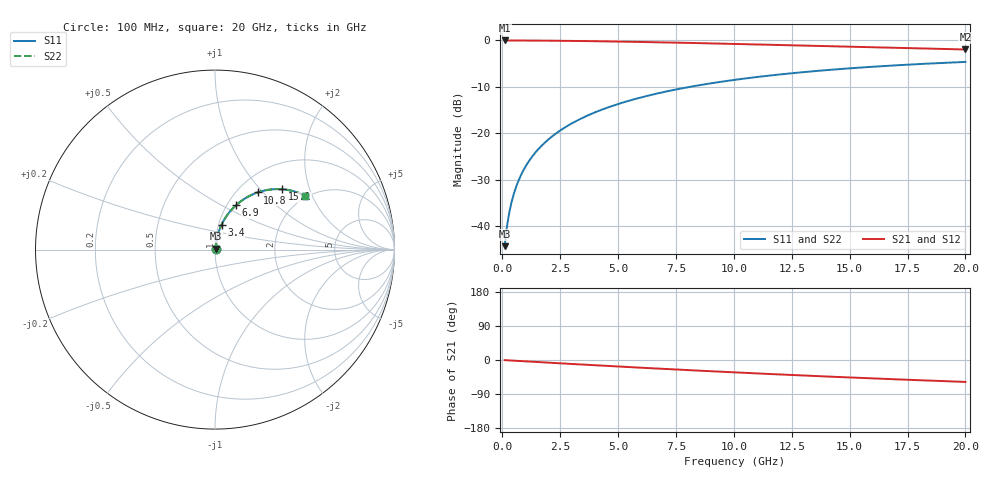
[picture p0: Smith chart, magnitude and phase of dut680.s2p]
! Touchstone file exported from HFSS 2026.1.0
!  File:  C:/ffzhzh/LocalFiles/Ansys_Project_Files/temp_train_BSMRDL_680_1783017529_55676.aedt
!  Generated:  02:40:25 AM Jul  3, 2026
!  Design:  BSMRDL
!  Project:  temp_train_BSMRDL_680_1783017529_55676
! Variables:
!  h_bsmrdl = 5.83um
!  h_ox = 20um
!  h_rdl = 5um
!  h_sub = 80um
!  h_tmrdl = 5um
!  h_tsv = 80um
!  h_via = 3um
!  l_bsmrdl = 853.03um
!  l_sub = 1253.03um
!  l_tmrdl = 200um
!  m_sub = 200um
!  pitch = 52.02um
!  r_tsv = 6um
!  s_tmrdl = 10um
!  w_bsmrdl = 12.42um
!  w_sub = 500um
!  w_tmrdl = 12um
!  x_tsv_center1 = 206um
!  x_tsv_center2 = 1071.45um
!  x_tsv_center3 = 1283.45um
!  x_tsv_center4 = 2148.9um
!  x_tsv_center5 = 2360.9um
!  x_tsv_center6 = 3226.35um
# GHz S MA R 50.000000
! Terminal data exported
! Port[1] = BSM_RDL1_1_T1
! Port[2] = BSM_RDL1_1_T2
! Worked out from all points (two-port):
!   200 points, 100 MHz to 20 GHz, reference 50 ohm
!   highest |S21| = -0.04 dB at 100 MHz (marker M1); lowest = -2.0 dB at 20 GHz (marker M2)
!   |S21| within 3 dB of the highest: start of sweep to end of sweep
!   lowest |S11| = -44.2 dB at 100 MHz (marker M3), VSWR 1.01, Z = 50.4 + j0.451 ohm
!   |S11| at or under -10 dB: start of sweep to 8.109 GHz
!   |S22| runs from -44.2 to -4.6 dB; largest |S21 - S12| = 5.4e-15
!   S11 on the Smith chart (normalised r, x): 100 MHz: 1.01, +0.01; 3.4 GHz: 1.03, +0.29; 6.9 GHz: 1.10, +0.59; 10.8 GHz: 1.23, +0.93; 15.1 GHz: 1.48, +1.33; 20 GHz: 1.95, +1.78
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0.1  0.006142 46.7  0.9958 -0.4  0.9958 -0.4  0.006142 46.7
! Gamma 0 0 0 0
! Port Impedance 50 0 50 0
0.2  0.009916 63.7  0.9957 -0.7  0.9957 -0.7  0.009916 63.7
0.3  0.01405 70.7  0.9955 -1.1  0.9955 -1.1  0.01405 70.7
0.4  0.01826 74.3  0.9953 -1.4  0.9953 -1.4  0.01826 74.3
0.5  0.02251 76.5  0.9952 -1.8  0.9952 -1.8  0.02251 76.5
0.7  0.03105 78.7  0.9948 -2.5  0.9948 -2.5  0.03105 78.7
1  0.04389 79.9  0.9941 -3.5  0.9941 -3.5  0.04389 79.9
1.4  0.06099 80.1  0.9929 -4.9  0.9929 -4.9  0.06099 80.1
2  0.08643 79.1  0.9904 -7.0  0.9904 -7.0  0.08643 79.1
2.6  0.1115 77.5  0.9872 -9.1  0.9872 -9.1  0.1115 77.5
3.4  0.1442 75.2  0.9821 -11.8  0.9821 -11.8  0.1442 75.2
3.5  0.1482 74.9  0.9813 -12.2  0.9813 -12.2  0.1482 74.9
5  0.2066 70.3  0.9691 -17.1  0.9691 -17.1  0.2066 70.3
6.8  0.272 64.8  0.9513 -22.9  0.9513 -22.9  0.2721 64.8
6.9  0.2755 64.5  0.9502 -23.2  0.9502 -23.2  0.2755 64.5
8.4  0.3256 60.0  0.9334 -27.8  0.9334 -27.8  0.3256 60.0
10.1  0.3777 55.2  0.913 -32.9  0.913 -32.9  0.3777 55.2
10.8  0.3977 53.3  0.9044 -34.9  0.9044 -34.9  0.3977 53.3
13.4  0.4643 46.3  0.8719 -42.0  0.8719 -42.0  0.4643 46.3
15.1  0.5018 42.1  0.851 -46.3  0.851 -46.3  0.5018 42.1
16.7  0.5329 38.2  0.8321 -50.3  0.8321 -50.3  0.5329 38.2
20  0.5855 30.8  0.7966 -57.9  0.7966 -57.9  0.5856 30.8
